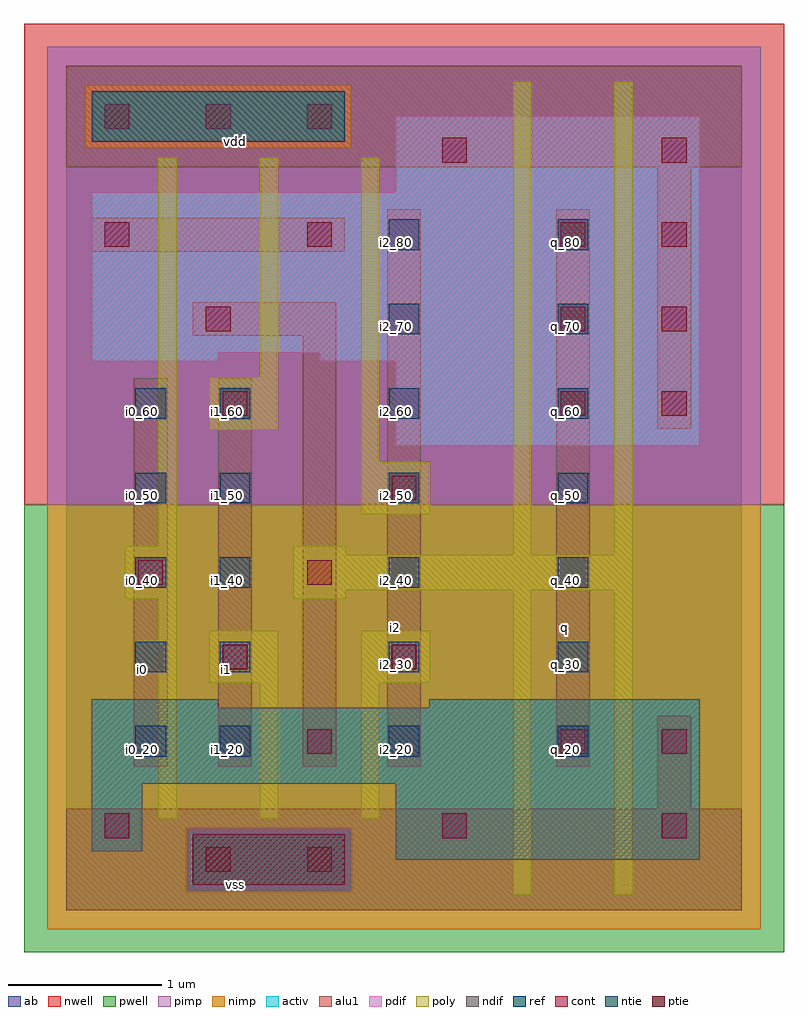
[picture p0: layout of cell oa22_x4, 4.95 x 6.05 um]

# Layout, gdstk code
import gdstk
lib = gdstk.Library(unit=1e-6, precision=2.5e-09)
def R(c, l, rs):  # rectangles x0, y0, x1, y1
    for r in rs: c.add(gdstk.rectangle(r[:2], r[2:], *l))
def A(c, l, x, y, w, h, nx, ny, dx, dy):  # array of equal rectangles
    R(c, l, [(x+i*dx, y+j*dy, x+i*dx+w, y+j*dy+h) for i in range(nx) for j in range(ny)])
ndif = (3, 0)
pdif = (4, 0)
ntie = (5, 0)
ptie = (6, 0)
ref = (24, 0)
cont = (25, 0)
pwell = (41, 0)
nwell = (42, 0)
activ = (43, 0)
pimp = (44, 0)
nimp = (45, 0)
poly = (46, 0)
alu1 = (49, 0)
ab = (63, 0)

oa22_x4 = lib.new_cell('oa22_x4')
R(oa22_x4, ndif, [(2.145,0.33,4.125,0.825), (0.165,0.385,0.495,0.825), (0.165,0.825,4.125,1.32), (0.165,1.32,0.99,1.375), (2.365,1.32,4.125,1.375)])
R(oa22_x4, pdif, [(2.145,3.025,4.125,3.575), (0.165,3.575,0.99,3.63), (1.65,3.575,4.125,3.63), (0.165,3.63,4.125,4.675), (2.145,4.675,4.125,5.17)])
R(oa22_x4, ntie, [(0.165,5.005,1.815,5.335)])
R(oa22_x4, ptie, [(0.825,0.165,1.815,0.495)])
A(oa22_x4, ref, 0.45, 1, 0.2, 0.2, 1, 5, 0, 0.55)
A(oa22_x4, ref, 1, 1, 0.2, 0.2, 3, 5, 1.1, 0.55)
R(oa22_x4, ref, [(2.1,3.75,2.3,3.95), (3.2,3.75,3.4,3.95), (2.1,4.3,2.3,4.5), (3.2,4.3,3.4,4.5)])
A(oa22_x4, cont, 3.22, 3.22, 0.16, 0.16, 1, 3, 0, 0.55)
A(oa22_x4, cont, 3.88, 3.22, 0.16, 0.16, 1, 4, 0, 0.55)
A(oa22_x4, cont, 0.25, 5.09, 0.16, 0.16, 3, 1, 0.66, 0)
R(oa22_x4, cont, [(0.91,0.25,1.07,0.41), (1.57,0.25,1.73,0.41), (0.25,0.47,0.41,0.63), (2.45,0.47,2.61,0.63), (3.88,0.47,4.04,0.63), (1.57,1.02,1.73,1.18), (3.22,1.02,3.38,1.18), (3.88,1.02,4.04,1.18), (1.02,1.57,1.18,1.73), (2.12,1.57,2.28,1.73), (0.47,2.12,0.63,2.28), (1.57,2.12,1.73,2.28), (2.12,2.67,2.28,2.83), (1.02,3.22,1.18,3.38), (0.91,3.77,1.07,3.93), (0.25,4.32,0.41,4.48), (1.57,4.32,1.73,4.48), (2.45,4.87,2.61,5.03)])
R(oa22_x4, pwell, [(-0.275,-0.275,4.675,2.64)])
R(oa22_x4, nwell, [(-0.275,2.64,4.675,5.775)])
R(oa22_x4, activ, [(0.825,0.165,1.815,0.495), (2.145,0.33,4.125,0.825), (0.165,0.385,0.495,0.825), (0.165,0.825,4.125,1.32), (0.165,1.32,0.99,1.375), (2.365,1.32,4.125,1.375), (2.145,3.025,4.125,3.575), (0.165,3.575,0.99,3.63), (1.65,3.575,4.125,3.63), (0.165,3.63,4.125,4.675), (2.145,4.675,4.125,5.17), (0.165,5.005,1.815,5.335)])
R(oa22_x4, pimp, [(0.785,0.125,1.855,0.535), (-0.125,2.64,4.525,4.965), (-0.125,4.965,0.125,5.375), (1.855,4.965,4.525,5.375), (-0.125,5.375,4.525,5.625)])
R(oa22_x4, nimp, [(-0.125,-0.125,4.525,0.125), (-0.125,0.125,0.785,0.535), (1.855,0.125,4.525,0.535), (-0.125,0.535,4.525,2.64), (0.125,4.965,1.855,5.375)])
R(oa22_x4, poly, [(2.91,0.105,3.03,2.085), (3.57,0.105,3.69,2.085), (0.6,0.6,0.72,2.03), (1.26,0.6,1.38,1.48), (1.92,0.6,2.04,1.48), (0.93,1.48,1.38,1.82), (1.92,1.48,2.37,1.82), (0.38,2.03,0.72,2.37), (1.48,2.03,1.82,2.085), (1.48,2.085,3.69,2.315), (1.48,2.315,1.82,2.37), (2.91,2.315,3.03,5.395), (3.57,2.315,3.69,5.395), (0.6,2.37,0.72,4.9), (1.92,2.58,2.37,2.92), (1.92,2.92,2.04,4.9), (0.93,3.13,1.38,3.47), (1.26,3.47,1.38,4.9)])
R(oa22_x4, alu1, [(0,0,4.4,0.66), (3.85,0.66,4.07,1.265), (0.44,0.935,0.66,3.465), (0.99,0.935,1.21,3.465), (1.54,0.935,1.76,3.74), (2.09,0.935,2.31,4.565), (3.19,0.935,3.41,4.565), (3.85,3.135,4.07,4.84), (0.825,3.74,1.76,3.96), (0.165,4.29,1.815,4.51), (0,4.84,4.4,5.5)])
R(oa22_x4, ab, [(0,0,4.4,5.5)])
oa22_x4.add(gdstk.Label('vss', (1.1,0.165), layer=49, texttype=0))
oa22_x4.add(gdstk.Label('q', (3.245,1.8425), layer=49, texttype=0))
oa22_x4.add(gdstk.Label('i2', (2.145,1.8425), layer=49, texttype=0))
oa22_x4.add(gdstk.Label('i1', (1.045,1.5675), layer=49, texttype=0))
oa22_x4.add(gdstk.Label('i0', (0.495,1.5675), layer=49, texttype=0))
oa22_x4.add(gdstk.Label('vdd', (1.1,5.005), layer=49, texttype=0))
oa22_x4.add(gdstk.Label('q_20', (3.25,1.05), layer=24, texttype=0))
oa22_x4.add(gdstk.Label('q_30', (3.25,1.6), layer=24, texttype=0))
oa22_x4.add(gdstk.Label('q_40', (3.25,2.15), layer=24, texttype=0))
oa22_x4.add(gdstk.Label('q_50', (3.25,2.7), layer=24, texttype=0))
oa22_x4.add(gdstk.Label('q_60', (3.25,3.25), layer=24, texttype=0))
oa22_x4.add(gdstk.Label('q_70', (3.25,3.8), layer=24, texttype=0))
oa22_x4.add(gdstk.Label('q_80', (3.25,4.35), layer=24, texttype=0))
oa22_x4.add(gdstk.Label('i2_20', (2.15,1.05), layer=24, texttype=0))
oa22_x4.add(gdstk.Label('i2_30', (2.15,1.6), layer=24, texttype=0))
oa22_x4.add(gdstk.Label('i2_40', (2.15,2.15), layer=24, texttype=0))
oa22_x4.add(gdstk.Label('i2_50', (2.15,2.7), layer=24, texttype=0))
oa22_x4.add(gdstk.Label('i2_60', (2.15,3.25), layer=24, texttype=0))
oa22_x4.add(gdstk.Label('i2_70', (2.15,3.8), layer=24, texttype=0))
oa22_x4.add(gdstk.Label('i2_80', (2.15,4.35), layer=24, texttype=0))
oa22_x4.add(gdstk.Label('i1_20', (1.05,1.05), layer=24, texttype=0))
oa22_x4.add(gdstk.Label('i1_30', (1.05,1.6), layer=24, texttype=0))
oa22_x4.add(gdstk.Label('i1_40', (1.05,2.15), layer=24, texttype=0))
oa22_x4.add(gdstk.Label('i1_50', (1.05,2.7), layer=24, texttype=0))
oa22_x4.add(gdstk.Label('i1_60', (1.05,3.25), layer=24, texttype=0))
oa22_x4.add(gdstk.Label('i0_60', (0.5,3.25), layer=24, texttype=0))
oa22_x4.add(gdstk.Label('i0_50', (0.5,2.7), layer=24, texttype=0))
oa22_x4.add(gdstk.Label('i0_40', (0.5,2.15), layer=24, texttype=0))
oa22_x4.add(gdstk.Label('i0_30', (0.5,1.6), layer=24, texttype=0))
oa22_x4.add(gdstk.Label('i0_20', (0.5,1.05), layer=24, texttype=0))

lib.write_gds('oa22_x4.gds')
